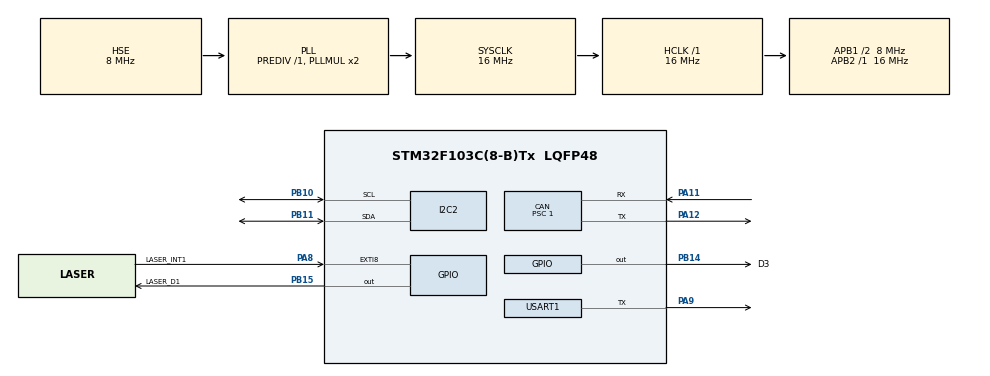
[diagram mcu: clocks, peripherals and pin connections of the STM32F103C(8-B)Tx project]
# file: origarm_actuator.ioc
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Mcu.Family=STM32F1
PB10.Mode=I2C
USART1.BaudRate=115200
PB14.GPIO_Label=D3
PA11.Mode=CAN_Activate
CAN.SJW=CAN_SJW_1TQ
PB11.Signal=I2C2_SDA
PB15.Signal=GPIO_Output
RCC.SYSCLKSource=RCC_SYSCLKSOURCE_PLLCLK
ProjectManager.StackSize=0x800
PD1-OSC_OUT.Signal=RCC_OSC_OUT
Dma.USART1_TX.0.Priority=DMA_PRIORITY_LOW
PA12.Signal=CAN_TX
CAN.Prescaler=1
Dma.USART1_TX.0.Direction=DMA_MEMORY_TO_PERIPH
RCC.HCLKFreq_Value=16000000
RCC.APB2TimFreq_Value=16000000
RCC.AHBFreq_Value=16000000
PA14.Mode=Serial_Wire
CAN.NART=ENABLE
PA8.Signal=GPXTI8
VP_FREERTOS_VS_CMSIS_V1.Mode=CMSIS_V1
Dma.USART1_TX.0.PeriphDataAlignment=DMA_PDATAALIGN_BYTE
CAN.CalculateTimeQuantum=125.0
Mcu.Package=LQFP48
TIM2.Prescaler=7       
PB14.GPIO_PuPd=GPIO_PULLDOWN
PB15.GPIO_PuPd=GPIO_PULLUP
Dma.USART1_TX.0.Instance=DMA1_Channel4
RCC.APB1TimFreq_Value=16000000
NVIC.DMA1_Channel4_IRQn=true\:5\:0\:false\:false\:true\:true\:false\:true
NVIC.USART1_IRQn=true\:5\:0\:false\:false\:true\:true\:true\:true
Dma.Request0=USART1_TX
I2C2.I2C_Mode=I2C_Standard
RCC.PLLSourceVirtual=RCC_PLLSOURCE_HSE
FREERTOS.Tasks01=sensorTask,1,1024,sensorTaskFunc,Default,NULL,Static,sensorTaskBuffer,sensorTaskControlBlock;sendTask,-1,1024,sendTaskFunc,Default,NULL,Static,sendTaskBuffer,sendTaskControlBlock
Dma.USART1_TX.0.MemInc=DMA_MINC_ENABLE
PD1-OSC_OUT.Mode=HSE-External-Oscillator
Dma.USART1_TX.0.PeriphInc=DMA_PINC_DISABLE
CAN.CalculateBaudRate=1000000
FREERTOS.INCLUDE_vTaskDelayUntil=1
PD0-OSC_IN.Signal=RCC_OSC_IN
RCC.APB1CLKDivider=RCC_HCLK_DIV2
CAN.CalculateTimeBit=1000.00
PA13.Signal=SYS_JTMS-SWDIO
PA9.Mode=Half_duplex(single_wire_mode)
CAN.BS1=CAN_BS1_6TQ
PA8.GPIO_Label=LASER_INT1
PB11.Mode=I2C
ProjectManager.TargetToolchain=STM32CubeIDE
PA9.Signal=USART1_TX
RCC.USBFreq_Value=16000000
CAN.Mode=CAN_MODE_NORMAL
PB10.Signal=I2C2_SCL
PD0-OSC_IN.Mode=HSE-External-Oscillator
PB14.Signal=GPIO_Output
FREERTOS.MEMORY_ALLOCATION=1
Dma.USART1_TX.0.Mode=DMA_NORMAL
board=custom
RCC.APB2Freq_Value=16000000
USART1.Mode=MODE_TX
PB15.GPIO_Label=LASER_D1
VP_TIM2_VS_ClockSourceINT.Mode=Internal
NVIC.USB_LP_CAN1_RX0_IRQn=true\:5\:0\:false\:false\:true\:true\:true\:true
TIM2.Period=1000
PA13.Mode=Serial_Wire
Mcu.Name=STM32F103C(8-B)Tx
RCC.SYSCLKFreq_VALUE=16000000
PA12.Mode=CAN_Activate
USART1.VirtualMode=VM_ASYNC
PA11.Signal=CAN_RX
Dma.USART1_TX.0.MemDataAlignment=DMA_MDATAALIGN_BYTE
NVIC.EXTI9_5_IRQn=true\:5\:0\:false\:false\:true\:true\:true\:true
PA14.Signal=SYS_JTCK-SWCLK
ProjectManager.HeapSize=0x400
NVIC.I2C2_EV_IRQn=true\:5\:0\:false\:false\:true\:true\:true\:true
PA8.GPIO_PuPd=GPIO_PULLDOWN
NVIC.PriorityGroup=NVIC_PRIORITYGROUP_4
TIM2.AutoReloadPreload=TIM_AUTORELOAD_PRELOAD_ENABLE
RCC.APB1Freq_Value=8000000
VP_CRC_VS_CRC.Mode=CRC_Activate

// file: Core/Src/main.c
/* USER CODE BEGIN Header */
/**
  ******************************************************************************
  * @file           : main.c
  * @brief          : Main program body
  ******************************************************************************
  * @attention
  *
  * <h2><center>&copy; Copyright (c) 2020 STMicroelectronics.
  * All rights reserved.</center></h2>
  *
  * This software component is licensed by ST under BSD 3-Clause license,
  * the "License"; You may not use this file except in compliance with the
  * License. You may obtain a copy of the License at:
  *                        opensource.org/licenses/BSD-3-Clause
  *
  ******************************************************************************
  */
/* USER CODE END Header */
#include "main.h"
#include "cmsis_os.h"
#include "can.h"
#include "crc.h"
#include "dma.h"
#include "i2c.h"
#include "tim.h"
#include "usart.h"
#include "gpio.h"

/* USER CODE BEGIN Includes */
#include "myUsartFunction.h"
#include "sensors.h"
#include "string.h"
extern TIM_HandleTypeDef htim2;
/* USER CODE END Includes */

void SystemClock_Config(void);
void MX_FREERTOS_Init(void);

int main(void)
{

  /* MCU Configuration--------------------------------------------------------*/

  /* Reset of all peripherals, Initializes the Flash interface and the Systick. */
  HAL_Init();

  /* Configure the system clock */
  SystemClock_Config();

  /* USER CODE BEGIN SysInit */
  HAL_Delay(2000);// to solve i2c issue 300->3000
  /* USER CODE END SysInit */

  /* Initialize all configured peripherals */
  MX_GPIO_Init();
  MX_DMA_Init();
  MX_CAN_Init();
  MX_CRC_Init();
  MX_TIM2_Init();
  MX_USART1_UART_Init();
  MX_I2C2_Init();
  /* USER CODE BEGIN 2 */
  HAL_TIM_Base_Start(&htim2);
  HAL_Delay(1000);
  char* sc="Start up I2C Error\r\n";
  while(my_I2C_CheckError(&hi2c2)){
	  HAL_UART_Transmit(&huart1, (uint8_t *)sc, strlen(sc), 10);
	  HAL_I2C_ErrorCallback(&hi2c2);
  }
  canConfig();
  initIMU();
  HAL_Delay(1000);
  /* USER CODE END 2 */

  /* Call init function for freertos objects (in freertos.c) */
  MX_FREERTOS_Init();
  /* Start scheduler */
  osKernelStart();

  /* We should never get here as control is now taken by the scheduler */
  /* Infinite loop */
  while (1)
  {

  }
}

void SystemClock_Config(void)
{
  RCC_OscInitTypeDef RCC_OscInitStruct = {0};
  RCC_ClkInitTypeDef RCC_ClkInitStruct = {0};

  /** Initializes the RCC Oscillators according to the specified parameters
  * in the RCC_OscInitTypeDef structure.
  */
  RCC_OscInitStruct.OscillatorType = RCC_OSCILLATORTYPE_HSE;
  RCC_OscInitStruct.HSEState = RCC_HSE_ON;
  RCC_OscInitStruct.HSEPredivValue = RCC_HSE_PREDIV_DIV1;
  RCC_OscInitStruct.HSIState = RCC_HSI_ON;
  RCC_OscInitStruct.PLL.PLLState = RCC_PLL_ON;
  RCC_OscInitStruct.PLL.PLLSource = RCC_PLLSOURCE_HSE;
  RCC_OscInitStruct.PLL.PLLMUL = RCC_PLL_MUL2;
  if (HAL_RCC_OscConfig(&RCC_OscInitStruct) != HAL_OK)
  {
    Error_Handler();
  }
  /** Initializes the CPU, AHB and APB buses clocks
  */
  RCC_ClkInitStruct.ClockType = RCC_CLOCKTYPE_HCLK|RCC_CLOCKTYPE_SYSCLK
                              |RCC_CLOCKTYPE_PCLK1|RCC_CLOCKTYPE_PCLK2;
  RCC_ClkInitStruct.SYSCLKSource = RCC_SYSCLKSOURCE_PLLCLK;
  RCC_ClkInitStruct.AHBCLKDivider = RCC_SYSCLK_DIV1;
  RCC_ClkInitStruct.APB1CLKDivider = RCC_HCLK_DIV2;
  RCC_ClkInitStruct.APB2CLKDivider = RCC_HCLK_DIV1;

  if (HAL_RCC_ClockConfig(&RCC_ClkInitStruct, FLASH_LATENCY_0) != HAL_OK)
  {
    Error_Handler();
  }
}

/* USER CODE BEGIN 4 */
#if LASER_MODE_POLL==0
void HAL_GPIO_EXTI_Callback(uint16_t GPIO_Pin){
	if (GPIO_Pin==LASER_INT1_Pin){
		VL6180x_IntCallback();
	}
}
#endif
void delay_us(int32_t t)  //1MHz 1us
{
	__HAL_TIM_SET_COUNTER(&htim2,0);
	while(__HAL_TIM_GET_COUNTER(&htim2)<t);
}

/* USER CODE END 4 */

void Error_Handler(void)
{
}

/************************ (C) COPYRIGHT STMicroelectronics *****END OF FILE****/

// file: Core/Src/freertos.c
/* USER CODE BEGIN Header */
/**
 ******************************************************************************
 * File Name          : freertos.c
 * Description        : Code for freertos applications
 ******************************************************************************
 * @attention
 *
 * <h2><center>&copy; Copyright (c) 2020 STMicroelectronics.
 * All rights reserved.</center></h2>
 *
 * This software component is licensed by ST under Ultimate Liberty license
 * SLA0044, the "License"; You may not use this file except in compliance with
 * the License. You may obtain a copy of the License at:
 *                             www.st.com/SLA0044
 *
 ******************************************************************************
 */
/* USER CODE END Header */

#include "FreeRTOS.h"
#include "task.h"
#include "main.h"
#include "cmsis_os.h"

/* USER CODE BEGIN Includes */
#include "myUsartFunction.h"
#include "laser.h"
#include "sensors.h"
#include "math.h"
int32_t sensorTime = 0;
int32_t pressurePa = 0;
int32_t c1, c2;
/* USER CODE END Includes */

osThreadId sensorTaskHandle;
uint32_t sensorTaskBuffer[ 1024 ];
osStaticThreadDef_t sensorTaskControlBlock;
osThreadId sendTaskHandle;
uint32_t sendTaskBuffer[ 1024 ];
osStaticThreadDef_t sendTaskControlBlock;

void sensorTaskFunc(void const * argument);
void sendTaskFunc(void const * argument);

void MX_FREERTOS_Init(void); /* (MISRA C 2004 rule 8.1) */

/* GetIdleTaskMemory prototype (linked to static allocation support) */
void vApplicationGetIdleTaskMemory( StaticTask_t **ppxIdleTaskTCBBuffer, StackType_t **ppxIdleTaskStackBuffer, uint32_t *pulIdleTaskStackSize );

/* USER CODE BEGIN GET_IDLE_TASK_MEMORY */
static StaticTask_t xIdleTaskTCBBuffer;
static StackType_t xIdleStack[configMINIMAL_STACK_SIZE];

void vApplicationGetIdleTaskMemory(StaticTask_t **ppxIdleTaskTCBBuffer, StackType_t **ppxIdleTaskStackBuffer, uint32_t *pulIdleTaskStackSize) {
	*ppxIdleTaskTCBBuffer = &xIdleTaskTCBBuffer;
	*ppxIdleTaskStackBuffer = &xIdleStack[0];
	*pulIdleTaskStackSize = configMINIMAL_STACK_SIZE;
	/* place for user code */
}
/* USER CODE END GET_IDLE_TASK_MEMORY */

void MX_FREERTOS_Init(void) {

  /* Create the thread(s) */
  /* definition and creation of sensorTask */
  osThreadStaticDef(sensorTask, sensorTaskFunc, osPriorityAboveNormal, 0, 1024, sensorTaskBuffer, &sensorTaskControlBlock);
  sensorTaskHandle = osThreadCreate(osThread(sensorTask), NULL);

  /* definition and creation of sendTask */
  osThreadStaticDef(sendTask, sendTaskFunc, osPriorityBelowNormal, 0, 1024, sendTaskBuffer, &sendTaskControlBlock);
  sendTaskHandle = osThreadCreate(osThread(sendTask), NULL);

}

void sensorTaskFunc(void const * argument)
{
  /* USER CODE BEGIN sensorTaskFunc */
	TickType_t xLastWakeTime = xTaskGetTickCount();
	TickType_t sensorTaskPeriod = pdMS_TO_TICKS(40); //20->100

	/* Infinite loop */
	for (;;) {
		c1 = HAL_GetTick();
		tryReadSensors();
		canSend();
		c2 = HAL_GetTick();

		vTaskDelayUntil(&xLastWakeTime, sensorTaskPeriod);
	}
  /* USER CODE END sensorTaskFunc */
}

void sendTaskFunc(void const * argument)
{
  /* USER CODE BEGIN sendTaskFunc */
	TickType_t xLastWakeTime = xTaskGetTickCount();
	TickType_t sendTaskPeriod = pdMS_TO_TICKS(200); //50->200
	/*	extern int32_t elapTime;
	 extern uint16_t laserDis;
	 extern float filteredrange;
	 extern float testDistance[];
	 extern float firrange;*/
	 uint16_t senDis=0;
	 extern int sensorRet[];
	 extern int sensorErr[];
	 QUATERNION quaternionPackAndUnpacked;
	 extern QUATERNION imuOriData;
	 extern uint16_t pressureRaw;
	/* Infinite loop */
	for (;;) {
		if(RangeData.errorStatus!=0){
			char *laserErrStr=VL6180x_RangeGetStatusErrString(RangeData.errorStatus);
			printf("%s\r\n",laserErrStr);
		}

	//	unpackQuaternion(&(sensorDataRx.quaternionCom), (QUATERNION*) imuGetData);
		unpackQuaternion(&(sensorData.quaternionCom), &quaternionPackAndUnpacked);
#if COMPACT_VERSION_PRESSURE_HPA == 1
		senDis= ((uint16_t)((uint16_t)(sensorData.distance)<<3)
				+(uint16_t)((uint16_t)(sensorData.quaternionCom.distanceBit2)<<2)
				+(uint16_t)((uint16_t)(sensorData.quaternionCom.distanceBit1)<<1)
				+(uint16_t)(sensorData.quaternionCom.distanceBit0));
#else
		senDis=sensorData.distance;
#endif

				printf("Time:%lu ms, CanID:%d, Pre:%d HPa, Dis: %d mm, QuatOri: %1.5f %1.5f %1.5f %1.5f  QuatCom:%1.5f %1.5f %1.5f %1.5f , Status:%d %d %d\r\n",
				HAL_GetTick(),
				(uint16_t) (canbus.TxHeader.StdId),
				sensorData.pressure,
				senDis,
				imuOriData.imuData[0] * 3.051757e-5,
				imuOriData.imuData[1] * 3.051757e-5,
				imuOriData.imuData[2] * 3.051757e-5,
				imuOriData.imuData[3] * 3.051757e-5,
				quaternionPackAndUnpacked.imuData[0]* 3.051757e-5,
				quaternionPackAndUnpacked.imuData[1] * 3.051757e-5,
				quaternionPackAndUnpacked.imuData[2] * 3.051757e-5,
				quaternionPackAndUnpacked.imuData[3] * 3.051757e-5,
				sensorRet[0],
				sensorRet[1],
				sensorRet[2]
				);
//		printf("Time:%lu ms, CanID:%d, Pre:%d HPa\r\n",
//				HAL_GetTick(),
//				(uint16_t) (canbus.TxHeader.StdId),
//				sensorData.pressure);
//		      printf("%d %d %d %d\r\n",
//		 			  (int)((round)(RangeData.range_mm*100)),
//					  sensorData.distance,
//					  (int)((round)(filteredrange))*100,
//					  (int)((round)(testDistance[1]*100))
//		 			  );
		vTaskDelayUntil(&xLastWakeTime, sendTaskPeriod);
	}
  /* USER CODE END sendTaskFunc */
}

/************************ (C) COPYRIGHT STMicroelectronics *****END OF FILE****/
